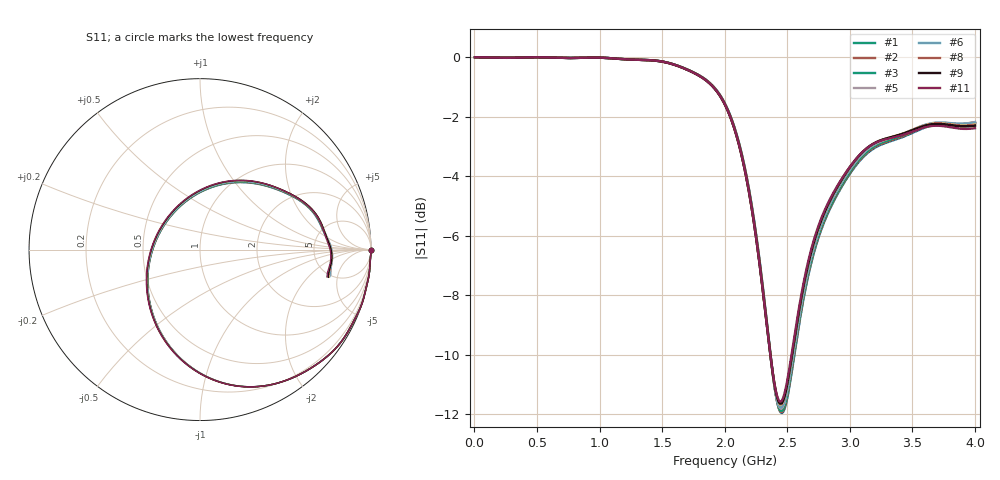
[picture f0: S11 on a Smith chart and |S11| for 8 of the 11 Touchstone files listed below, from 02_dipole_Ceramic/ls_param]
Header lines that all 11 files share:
! TOUCHSTONE file generated by CST MICROWAVE STUDIO
! Project name: AppElm_antenne_dipole_Alumina.cst
! Header version: 2018
! Port assignment regex: !\s*Touchstone port\s*([0-9]+)\s*=\s*(CST MWS port|CST DS port)\s*([0-9]+|Zmin|Zmax)\s*\(\"(.*)\"\)(\s*mode\s*([0-9]+))?.*
! Touchstone port assignment:
! Touchstone port 1 = CST MWS port 1 ("")
# GHz S MA R 50
Fixed: L = 33, e = 0.035, f = 2.45e+09, h = 1.6, i = 0.8, l1 = 2, lambda = 122.449, wl = 1.7, ws = 80
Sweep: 4 MHz to 4 GHz
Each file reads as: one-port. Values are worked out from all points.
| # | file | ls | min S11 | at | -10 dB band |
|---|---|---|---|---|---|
| 1 | AppElm_antenne_dipole_Alumina_1.s1p | 22.5 | -12.0 dB | 2.456 GHz | 190.1 MHz wide |
| 2 | AppElm_antenne_dipole_Alumina_2.s1p | 24 | -11.9 dB | 2.452 GHz | 188.7 MHz wide |
| 3 | AppElm_antenne_dipole_Alumina_3.s1p | 25.5 | -11.9 dB | 2.452 GHz | 187 MHz wide |
| 4 | AppElm_antenne_dipole_Alumina_4.s1p | 27 | -11.9 dB | 2.452 GHz | 184.9 MHz wide |
| 5 | AppElm_antenne_dipole_Alumina_5.s1p | 28.5 | -11.8 dB | 2.452 GHz | 182.6 MHz wide |
| 6 | AppElm_antenne_dipole_Alumina_6.s1p | 30 | -11.8 dB | 2.448 GHz | 180.2 MHz wide |
| 7 | AppElm_antenne_dipole_Alumina_7.s1p | 31.5 | -11.7 dB | 2.448 GHz | 177.7 MHz wide |
| 8 | AppElm_antenne_dipole_Alumina_8.s1p | 33 | -11.7 dB | 2.448 GHz | 175.3 MHz wide |
| 9 | AppElm_antenne_dipole_Alumina_9.s1p | 34.5 | -11.6 dB | 2.448 GHz | 173 MHz wide |
| 10 | AppElm_antenne_dipole_Alumina_10.s1p | 36 | -11.6 dB | 2.444 GHz | 170.9 MHz wide |
| 11 | AppElm_antenne_dipole_Alumina_11.s1p | 37.5 | -11.6 dB | 2.444 GHz | 169 MHz wide |
